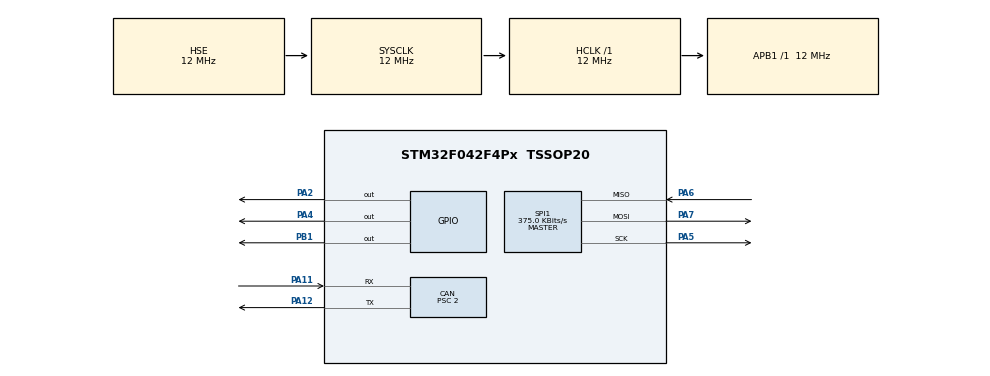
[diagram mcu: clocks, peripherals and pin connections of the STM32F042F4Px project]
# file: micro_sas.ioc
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CAN.BS1=CAN_BS1_10TQ
CAN.CalculateBaudRate=500000
CAN.CalculateTimeBit=2000
CAN.CalculateTimeQuantum=166.66666666666666
CAN.NART=ENABLE
CAN.Prescaler=2
Mcu.Family=STM32F0
Mcu.Name=STM32F042F4Px
Mcu.Package=TSSOP20
NVIC.CEC_CAN_IRQn=true\:0\:0\:false\:false\:true\:true\:true\:true
PA11.Mode=CAN_Activate
PA11.Signal=CAN_RX
PA12.Mode=CAN_Activate
PA12.Signal=CAN_TX
PA13.Mode=Serial_Wire
PA13.Signal=SYS_SWDIO
PA14.Mode=Serial_Wire
PA14.Signal=SYS_SWCLK
PA2.Signal=GPIO_Output
PA4.GPIO_Speed=GPIO_SPEED_FREQ_HIGH
PA4.PinState=GPIO_PIN_SET
PA4.Signal=GPIO_Output
PA5.Mode=Full_Duplex_Master
PA5.Signal=SPI1_SCK
PA6.Mode=Full_Duplex_Master
PA6.Signal=SPI1_MISO
PA7.Mode=Full_Duplex_Master
PA7.Signal=SPI1_MOSI
PB1.Signal=GPIO_Output
PF0-OSC_IN.Mode=HSE-External-Oscillator
PF0-OSC_IN.Signal=RCC_OSC_IN
PF1-OSC_OUT.Mode=HSE-External-Oscillator
PF1-OSC_OUT.Signal=RCC_OSC_OUT
ProjectManager.HeapSize=0x200
ProjectManager.StackSize=0x400
ProjectManager.TargetToolchain=STM32CubeIDE
RCC.AHBFreq_Value=12000000
RCC.APB1Freq_Value=12000000
RCC.APB1TimFreq_Value=12000000
RCC.HCLKFreq_Value=12000000
RCC.HSE_VALUE=12000000
RCC.PLLSourceVirtual=RCC_PLLSOURCE_HSE
RCC.SYSCLKFreq_VALUE=12000000
RCC.SYSCLKSource=RCC_SYSCLKSOURCE_HSE
SPI1.BaudRatePrescaler=SPI_BAUDRATEPRESCALER_32
SPI1.CLKPhase=SPI_PHASE_2EDGE
SPI1.CLKPolarity=SPI_POLARITY_LOW
SPI1.CalculateBaudRate=375.0 KBits/s
SPI1.DataSize=SPI_DATASIZE_16BIT
SPI1.Direction=SPI_DIRECTION_2LINES
SPI1.Mode=SPI_MODE_MASTER
SPI1.VirtualType=VM_MASTER
VP_SYS_VS_PINREMAP.Mode=PINREMAP
board=custom

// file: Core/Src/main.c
/* USER CODE BEGIN Header */
/**
  ******************************************************************************
  * @file           : main.c
  * @brief          : Main program body
  ******************************************************************************
  * @attention
  *
  * Copyright (c) 2022 STMicroelectronics.
  * All rights reserved.
  *
  * This software is licensed under terms that can be found in the LICENSE file
  * in the root directory of this software component.
  * If no LICENSE file comes with this software, it is provided AS-IS.
  *
  ******************************************************************************
  */
/* USER CODE END Header */
#include "main.h"

/* USER CODE BEGIN PTD */
#define ENABLE_CAN_TRANSCEIVER() HAL_GPIO_WritePin(GPIOB, GPIO_PIN_1, GPIO_PIN_RESET)
#define LED_OFF() HAL_GPIO_WritePin(GPIOA, GPIO_PIN_2, GPIO_PIN_RESET)
#define LED_ON() HAL_GPIO_WritePin(GPIOA, GPIO_PIN_2, GPIO_PIN_SET)

#define SET_ERROR(n) errors |= 1UL << n
#define CLEAR_ERROR(n) errors &= ~(1UL << n)

#define ABS(x) ((x) > 0 ? (x) : -(x))

#define __AS5048A2_CS_ENABLE() HAL_GPIO_WritePin(GPIOA, GPIO_PIN_4, GPIO_PIN_RESET)
#define __AS5048A2_CS_DISABLE() HAL_GPIO_WritePin(GPIOA, GPIO_PIN_4, GPIO_PIN_SET)

#define __Read_NOP 0xc000
#define __Read_Clear_Error_Flag 0x4001
#define __Read_Angle 0xffff
/* USER CODE END PTD */

 CAN_HandleTypeDef hcan;

SPI_HandleTypeDef hspi1;

void SystemClock_Config(void);
static void MX_GPIO_Init(void);
static void MX_SPI1_Init(void);
static void MX_CAN_Init(void);
/* USER CODE BEGIN PFP */

uint16_t getRawRotation(void);
uint32_t sendCAN(uint16_t id, uint8_t buffer[], uint8_t len);
void processCAN(CAN_HandleTypeDef *hcan, uint32_t mailbox);
int getChecksum(uint8_t *msg, uint8_t len, uint16_t addr);
void attachChecksum(uint16_t id, uint8_t len, uint8_t *msg);
uint8_t isDeadFace(uint8_t buf[], uint8_t len);

/* USER CODE END PFP */

/* USER CODE BEGIN 0 */
uint8_t errors = 0;

CAN_FilterTypeDef     canfil;
CAN_RxHeaderTypeDef   rxHeader;
uint8_t               rxBuffer[8];
CAN_TxHeaderTypeDef txHeader;
uint32_t  txMailbox;

uint8_t ignition = 0;
uint32_t lastSeen = 0;

uint16_t current_position;
uint16_t last_position;
int16_t position_movement;
int32_t rotational_position;
uint16_t bitshift_cur_pos;
uint16_t bitshift_last_pos;
int16_t bitshift_pos_delta;

uint16_t counter = 0;

uint16_t SPI_TX_DATA[4] = {__Read_Clear_Error_Flag, __Read_NOP, __Read_Angle, __Read_NOP};
uint16_t SPI_RX_DATA[4] = {0};
const uint8_t op_num = 4;
uint16_t origin_value = 0;
uint8_t i;
uint8_t TXD[4] = {0x55, 0xAA, 0x00, 0x00};
uint16_t post_process_value = 0;

/* USER CODE END 0 */

int main(void)
{

  /* MCU Configuration--------------------------------------------------------*/

  /* Reset of all peripherals, Initializes the Flash interface and the Systick. */
  HAL_Init();

  /* Configure the system clock */
  SystemClock_Config();

  /* Initialize all configured peripherals */
  MX_GPIO_Init();
  MX_SPI1_Init();
  MX_CAN_Init();
  /* USER CODE BEGIN 2 */
  ENABLE_CAN_TRANSCEIVER();

  LED_OFF();
  if (HAL_CAN_Start(&hcan) != HAL_OK) {
	  LED_ON();
  }
  HAL_CAN_ActivateNotification(&hcan, CAN_IT_RX_FIFO0_MSG_PENDING);
  HAL_CAN_ActivateNotification(&hcan, CAN_IT_RX_FIFO1_MSG_PENDING);

  current_position = getRawRotation();
  last_position = current_position;
  rotational_position = 0;
  /* USER CODE END 2 */

  /* Infinite loop */
  /* USER CODE BEGIN WHILE */
  while (1) {
	  if (HAL_GetTick() - lastSeen > 500) {
		  ignition = 0;
	  }

	  current_position = getRawRotation();
	  bitshift_cur_pos = current_position << 2;
	  bitshift_last_pos = last_position << 2;
	  bitshift_pos_delta = (bitshift_cur_pos - bitshift_last_pos); // Calculate the encoder "ticks" moved since the last reading - in bitshift math
	  position_movement = bitshift_pos_delta >> 2; // Calculate the encoder "ticks" moved since the last reading - converting bitshift math
	  rotational_position += position_movement; // Update the absolute position values.
	  last_position = current_position;

	  if (rotational_position > 49149 || rotational_position < -49149) { // check sane (3 full rotations)
		  SET_ERROR(2);
	  } else {
		  CLEAR_ERROR(2);
	  }

	  if (ignition == 1) {
		  LED_ON();
		  if (counter % 10 == 0) {
			  int raw = rotational_position;
			  uint8_t txBuffer[] = {(raw >> 24) & 0xFF, (raw >> 16) & 0xFF,
					  	  	  	  	  (raw >> 8) & 0xFF, raw & 0xFF,
									  0x00, 0x00, 0x00, 0x00};
			  sendCAN(0x23, txBuffer, 8); // steering angle message
		  }

		  if (counter == 100) {
			  uint8_t errBuffer[1] = {errors};
			  sendCAN(0x231, errBuffer, 1); // error flags
			  counter = 0;
		  }

		  counter++;
		  HAL_Delay(1);
	  } else {
		  LED_OFF();
		  HAL_Delay(500);
	  }

    /* USER CODE END WHILE */

  }
}

void SystemClock_Config(void)
{
  RCC_OscInitTypeDef RCC_OscInitStruct = {0};
  RCC_ClkInitTypeDef RCC_ClkInitStruct = {0};

  /** Initializes the RCC Oscillators according to the specified parameters
  * in the RCC_OscInitTypeDef structure.
  */
  RCC_OscInitStruct.OscillatorType = RCC_OSCILLATORTYPE_HSE;
  RCC_OscInitStruct.HSEState = RCC_HSE_ON;
  RCC_OscInitStruct.PLL.PLLState = RCC_PLL_NONE;
  if (HAL_RCC_OscConfig(&RCC_OscInitStruct) != HAL_OK)
  {
    Error_Handler();
  }

  /** Initializes the CPU, AHB and APB buses clocks
  */
  RCC_ClkInitStruct.ClockType = RCC_CLOCKTYPE_HCLK|RCC_CLOCKTYPE_SYSCLK
                              |RCC_CLOCKTYPE_PCLK1;
  RCC_ClkInitStruct.SYSCLKSource = RCC_SYSCLKSOURCE_HSE;
  RCC_ClkInitStruct.AHBCLKDivider = RCC_SYSCLK_DIV1;
  RCC_ClkInitStruct.APB1CLKDivider = RCC_HCLK_DIV1;

  if (HAL_RCC_ClockConfig(&RCC_ClkInitStruct, FLASH_LATENCY_0) != HAL_OK)
  {
    Error_Handler();
  }
}

static void MX_CAN_Init(void)
{

  hcan.Instance = CAN;
  hcan.Init.Prescaler = 2;
  hcan.Init.Mode = CAN_MODE_NORMAL;
  hcan.Init.SyncJumpWidth = CAN_SJW_1TQ;
  hcan.Init.TimeSeg1 = CAN_BS1_10TQ;
  hcan.Init.TimeSeg2 = CAN_BS2_1TQ;
  hcan.Init.TimeTriggeredMode = DISABLE;
  hcan.Init.AutoBusOff = DISABLE;
  hcan.Init.AutoWakeUp = DISABLE;
  hcan.Init.AutoRetransmission = ENABLE;
  hcan.Init.ReceiveFifoLocked = DISABLE;
  hcan.Init.TransmitFifoPriority = DISABLE;
  if (HAL_CAN_Init(&hcan) != HAL_OK)
  {
    Error_Handler();
  }
  /* USER CODE BEGIN CAN_Init 2 */
  canfil.FilterMode = CAN_FILTERMODE_IDLIST;
  canfil.FilterScale = CAN_FILTERSCALE_16BIT;
  canfil.FilterIdHigh = 0x1 << 5;
  canfil.FilterIdLow =  0x230 << 5;
  canfil.FilterMaskIdHigh = 0x1 << 5;
  canfil.FilterMaskIdLow = 0x230 << 5;
  canfil.FilterFIFOAssignment = 0;
  canfil.FilterActivation = ENABLE;
  HAL_CAN_ConfigFilter(&hcan, &canfil);
  /* USER CODE END CAN_Init 2 */

}

static void MX_SPI1_Init(void)
{

  /* SPI1 parameter configuration*/
  hspi1.Instance = SPI1;
  hspi1.Init.Mode = SPI_MODE_MASTER;
  hspi1.Init.Direction = SPI_DIRECTION_2LINES;
  hspi1.Init.DataSize = SPI_DATASIZE_16BIT;
  hspi1.Init.CLKPolarity = SPI_POLARITY_LOW;
  hspi1.Init.CLKPhase = SPI_PHASE_2EDGE;
  hspi1.Init.NSS = SPI_NSS_SOFT;
  hspi1.Init.BaudRatePrescaler = SPI_BAUDRATEPRESCALER_32;
  hspi1.Init.FirstBit = SPI_FIRSTBIT_MSB;
  hspi1.Init.TIMode = SPI_TIMODE_DISABLE;
  hspi1.Init.CRCCalculation = SPI_CRCCALCULATION_DISABLE;
  hspi1.Init.CRCPolynomial = 7;
  hspi1.Init.CRCLength = SPI_CRC_LENGTH_DATASIZE;
  hspi1.Init.NSSPMode = SPI_NSS_PULSE_DISABLE;
  if (HAL_SPI_Init(&hspi1) != HAL_OK)
  {
    Error_Handler();
  }

}

static void MX_GPIO_Init(void)
{
  GPIO_InitTypeDef GPIO_InitStruct = {0};

  /* GPIO Ports Clock Enable */
  __HAL_RCC_GPIOF_CLK_ENABLE();
  __HAL_RCC_GPIOA_CLK_ENABLE();
  __HAL_RCC_GPIOB_CLK_ENABLE();

  /*Configure GPIO pin Output Level */
  HAL_GPIO_WritePin(GPIOA, GPIO_PIN_2, GPIO_PIN_RESET);

  /*Configure GPIO pin Output Level */
  HAL_GPIO_WritePin(GPIOA, GPIO_PIN_4, GPIO_PIN_SET);

  /*Configure GPIO pin Output Level */
  HAL_GPIO_WritePin(GPIOB, GPIO_PIN_1, GPIO_PIN_RESET);

  /*Configure GPIO pin : PA2 */
  GPIO_InitStruct.Pin = GPIO_PIN_2;
  GPIO_InitStruct.Mode = GPIO_MODE_OUTPUT_PP;
  GPIO_InitStruct.Pull = GPIO_NOPULL;
  GPIO_InitStruct.Speed = GPIO_SPEED_FREQ_LOW;
  HAL_GPIO_Init(GPIOA, &GPIO_InitStruct);

  /*Configure GPIO pin : PA4 */
  GPIO_InitStruct.Pin = GPIO_PIN_4;
  GPIO_InitStruct.Mode = GPIO_MODE_OUTPUT_PP;
  GPIO_InitStruct.Pull = GPIO_NOPULL;
  GPIO_InitStruct.Speed = GPIO_SPEED_FREQ_HIGH;
  HAL_GPIO_Init(GPIOA, &GPIO_InitStruct);

  /*Configure GPIO pin : PB1 */
  GPIO_InitStruct.Pin = GPIO_PIN_1;
  GPIO_InitStruct.Mode = GPIO_MODE_OUTPUT_PP;
  GPIO_InitStruct.Pull = GPIO_NOPULL;
  GPIO_InitStruct.Speed = GPIO_SPEED_FREQ_LOW;
  HAL_GPIO_Init(GPIOB, &GPIO_InitStruct);

}

/* USER CODE BEGIN 4 */

uint16_t getRawRotation() {
	for (i = 0; i < op_num; i++) {
		__AS5048A2_CS_ENABLE();
		HAL_SPI_TransmitReceive(&hspi1, (uint8_t*) &SPI_TX_DATA[i], (uint8_t*) &SPI_RX_DATA[i], 1, 2710);
		__AS5048A2_CS_DISABLE();
	}
	return SPI_RX_DATA[3] & 0x3fff;
}

uint32_t sendCAN(uint16_t id, uint8_t buffer[], uint8_t len) {
	CAN_TxHeaderTypeDef header;

	header.IDE = CAN_ID_STD;
	header.RTR = CAN_RTR_DATA;
	header.TransmitGlobalTime = DISABLE;
	header.DLC = len;
	header.StdId = id;

	uint32_t mailbox;

	if (HAL_CAN_GetTxMailboxesFreeLevel(&hcan) > 0) {
		uint8_t res = HAL_CAN_AddTxMessage(&hcan, &header, buffer, &mailbox);
		if (res != HAL_OK) {
			SET_ERROR(0);
		} else {
			CLEAR_ERROR(0);
		}
	} else {
		if (HAL_CAN_IsTxMessagePending(&hcan, txMailbox)) {
			SET_ERROR(1);
		}
	}

	return mailbox;
}

void HAL_CAN_RxFifo0MsgPendingCallback(CAN_HandleTypeDef *hcan) {
	processCAN(hcan, CAN_RX_FIFO0);
}

void HAL_CAN_RxFifo1MsgPendingCallback(CAN_HandleTypeDef *hcan) {
	processCAN(hcan, CAN_RX_FIFO1);
}

void processCAN(CAN_HandleTypeDef *hcan, uint32_t mailbox) {
	CAN_RxHeaderTypeDef tmp;
	uint8_t data[8];
	HAL_CAN_GetRxMessage(hcan, mailbox, &tmp, data);
	if (tmp.StdId == 0x230 && isDeadFace(data, tmp.DLC)) {
		rotational_position = 0;
	}
	if (tmp.StdId == 0x001) {
		ignition = 1;
		lastSeen = HAL_GetTick();
	}
}

int getChecksum(uint8_t *msg, uint8_t len, uint16_t addr) {
    uint8_t checksum = 0;
    checksum = ((addr & 0xFF00) >> 8) + (addr & 0x00FF) + len + 1;
    for (int ii = 0; ii < len; ii++) {
        checksum += (msg[ii]);
    }
    return checksum;
}

uint8_t isDeadFace(uint8_t buf[], uint8_t len) {
	if (len != 8) {
		return 0;
	}
	return buf[0] = 0xD && buf[1] == 0xE && buf[2] == 0xA && buf[3] ==0xD
			&& buf[4] == 0xF && buf[5] == 0xA && buf[6] == 0xC && buf[7] == 0xE;
}

/* USER CODE END 4 */

void Error_Handler(void)
{
  __disable_irq();
  while (1)
  {
  }
}
